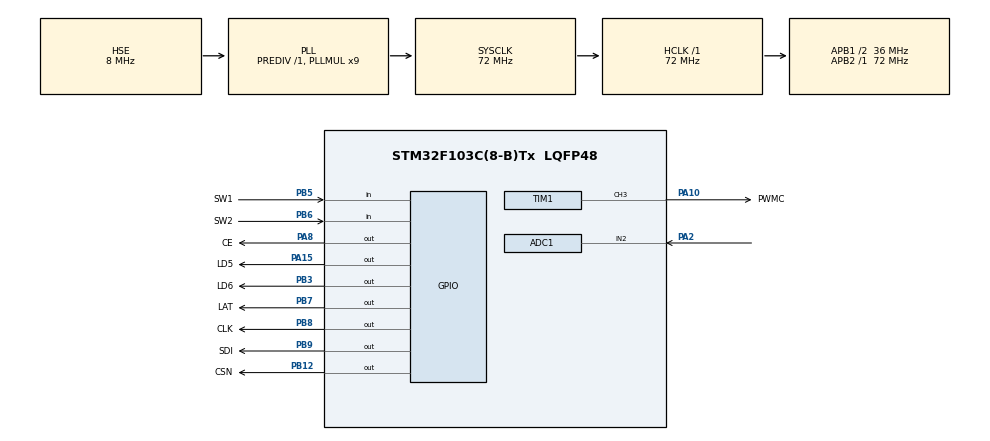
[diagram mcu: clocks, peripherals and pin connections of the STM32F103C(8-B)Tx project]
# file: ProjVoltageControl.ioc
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ADC1.Channel-0\#ChannelRegularConversion=ADC_CHANNEL_2
ADC1.ContinuousConvMode=ENABLE
ADC1.NbrOfConversionFlag=1
ADC1.Rank-0\#ChannelRegularConversion=1
ADC1.SamplingTime-0\#ChannelRegularConversion=ADC_SAMPLETIME_1CYCLE_5
ADC1.master=1
Mcu.Family=STM32F1
Mcu.Name=STM32F103C(8-B)Tx
Mcu.Package=LQFP48
NVIC.PriorityGroup=NVIC_PRIORITYGROUP_4
PA0-WKUP.GPIO_Label=POT3
PA0-WKUP.Signal=ADCx_IN0
PA1.GPIO_Label=POT2
PA1.Signal=ADCx_IN1
PA10.GPIO_Label=PWMC
PA10.Signal=S_TIM1_CH3
PA13.GPIO_Label=SWDIO
PA13.Mode=Serial_Wire
PA13.Signal=SYS_JTMS-SWDIO
PA14.GPIO_Label=SWCLK
PA14.Mode=Serial_Wire
PA14.Signal=SYS_JTCK-SWCLK
PA15.GPIO_Label=LD5
PA15.GPIO_ModeDefaultOutputPP=GPIO_MODE_OUTPUT_PP
PA15.GPIO_PuPd=GPIO_NOPULL
PA15.GPIO_Speed=GPIO_SPEED_FREQ_HIGH
PA15.PinState=GPIO_PIN_RESET
PA15.Signal=GPIO_Output
PA2.Signal=ADCx_IN2
PA5.GPIO_Label=POT1
PA5.Signal=ADCx_IN5
PA6.GPIO_Label=Temp
PA6.Signal=ADCx_IN6
PA7.GPIO_Label=PWMG
PA7.Signal=S_TIM3_CH2
PA8.GPIO_Label=CE
PA8.GPIO_Speed=GPIO_SPEED_FREQ_HIGH
PA8.Signal=GPIO_Output
PA9.GPIO_Label=PWMS
PA9.Signal=S_TIM1_CH2
PB0.GPIO_Label=PWMB
PB0.Signal=S_TIM3_CH3
PB1.GPIO_Label=PWMR
PB1.Signal=S_TIM3_CH4
PB12.GPIO_Label=CSN
PB12.GPIO_Speed=GPIO_SPEED_FREQ_HIGH
PB12.Signal=GPIO_Output
PB13.GPIO_Label=SCK
PB13.Signal=SPI2_SCK
PB14.GPIO_Label=MISO
PB14.Signal=SPI2_MISO
PB15.GPIO_Label=MOSI
PB15.Signal=SPI2_MOSI
PB3.GPIO_Label=LD6
PB3.GPIO_ModeDefaultOutputPP=GPIO_MODE_OUTPUT_PP
PB3.GPIO_PuPd=GPIO_NOPULL
PB3.GPIO_Speed=GPIO_SPEED_FREQ_HIGH
PB3.PinState=GPIO_PIN_RESET
PB3.Signal=GPIO_Output
PB5.GPIO_Label=SW1
PB5.GPIO_Mode=GPIO_MODE_INPUT
PB5.GPIO_PuPd=GPIO_NOPULL
PB5.Signal=GPIO_Input
PB6.GPIO_Label=SW2
PB6.GPIO_Mode=GPIO_MODE_INPUT
PB6.GPIO_PuPd=GPIO_NOPULL
PB6.Signal=GPIO_Input
PB7.GPIO_Label=LAT
PB7.GPIO_ModeDefaultOutputPP=GPIO_MODE_OUTPUT_OD
PB7.GPIO_Speed=GPIO_SPEED_FREQ_HIGH
PB7.PinState=GPIO_PIN_RESET
PB7.Signal=GPIO_Output
PB8.GPIO_Label=CLK
PB8.GPIO_ModeDefaultOutputPP=GPIO_MODE_OUTPUT_OD
PB8.GPIO_Speed=GPIO_SPEED_FREQ_HIGH
PB8.PinState=GPIO_PIN_RESET
PB8.Signal=GPIO_Output
PB9.GPIO_Label=SDI
PB9.GPIO_ModeDefaultOutputPP=GPIO_MODE_OUTPUT_OD
PB9.GPIO_Speed=GPIO_SPEED_FREQ_HIGH
PB9.PinState=GPIO_PIN_RESET
PB9.Signal=GPIO_Output
PD0-OSC_IN.GPIO_Label=OSC_IN
PD0-OSC_IN.Mode=HSE-External-Oscillator
PD0-OSC_IN.Signal=RCC_OSC_IN
PD1-OSC_OUT.GPIO_Label=OSC_OUT
PD1-OSC_OUT.Mode=HSE-External-Oscillator
PD1-OSC_OUT.Signal=RCC_OSC_OUT
ProjectManager.HeapSize=0x200
ProjectManager.StackSize=0x400
ProjectManager.TargetToolchain=MDK-ARM V5.27
RCC.ADCPresc=RCC_ADCPCLK2_DIV6
RCC.AHBFreq_Value=72000000
RCC.APB1CLKDivider=RCC_HCLK_DIV2
RCC.APB1Freq_Value=36000000
RCC.APB1TimFreq_Value=72000000
RCC.APB2Freq_Value=72000000
RCC.APB2TimFreq_Value=72000000
RCC.HCLKFreq_Value=72000000
RCC.PLLMUL=RCC_PLL_MUL9
RCC.PLLSourceVirtual=RCC_PLLSOURCE_HSE
RCC.SYSCLKFreq_VALUE=72000000
RCC.SYSCLKSource=RCC_SYSCLKSOURCE_PLLCLK
RCC.USBFreq_Value=72000000
SH.ADCx_IN0.0=ADC1_IN0
SH.ADCx_IN1.0=ADC1_IN1
SH.ADCx_IN2.0=ADC1_IN2,IN2
SH.ADCx_IN5.0=ADC1_IN5
SH.ADCx_IN6.0=ADC1_IN6
SH.S_TIM1_CH2.0=TIM1_CH2
SH.S_TIM1_CH3.0=TIM1_CH3,PWM Generation3 CH3
SH.S_TIM3_CH2.0=TIM3_CH2
SH.S_TIM3_CH3.0=TIM3_CH3
SH.S_TIM3_CH4.0=TIM3_CH4
TIM1.Channel-PWM\ Generation3\ CH3=TIM_CHANNEL_3
TIM1.Period=400
VP_TIM1_VS_ClockSourceINT.Mode=Internal
board=custom

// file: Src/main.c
/* USER CODE BEGIN Header */
/**
  ******************************************************************************
  * @file           : main.c
  * @brief          : Main program body
  ******************************************************************************
  * @attention
  *
  * <h2><center>&copy; Copyright (c) 2020 STMicroelectronics.
  * All rights reserved.</center></h2>
  *
  * This software component is licensed by ST under BSD 3-Clause license,
  * the "License"; You may not use this file except in compliance with the
  * License. You may obtain a copy of the License at:
  *                        opensource.org/licenses/BSD-3-Clause
  *
  ******************************************************************************
  */
/* USER CODE END Header */

#include "main.h"
#include "adc.h"
#include "tim.h"
#include "gpio.h"

void SystemClock_Config(void);

/* USER CODE BEGIN 0 */
float raw = 0, filtered = 0;
float sample_time = 0.001 /* s */, frequency = 10 /* rad/s */;
float reference = 20, Kp = 1000, Ki = 10000, sum = 0;

void HAL_SYSTICK_Callback(void)
{
  raw = 100.0f * (float)HAL_ADC_GetValue(&hadc1) / 4096.0f; // Normalize
  filtered += (raw - filtered) * frequency * sample_time;
  float error = reference - filtered;
  sum += Ki * error * sample_time;
  float u = Kp * error + sum;
  u = (u < 0 || 40000 < u) ? (u < 0 ? 0 : 40000) : u; // Saturation with TIM1->ARR * 100
  TIM1->CCR3 = u / 100.0f; // Denormalize
}
/* USER CODE END 0 */

int main(void)
{

  /* MCU Configuration--------------------------------------------------------*/

  /* Reset of all peripherals, Initializes the Flash interface and the Systick. */
  HAL_Init();

  /* Configure the system clock */
  SystemClock_Config();

  /* Initialize all configured peripherals */
  MX_GPIO_Init();
  MX_ADC1_Init();
  MX_TIM1_Init();
  /* USER CODE BEGIN 2 */
  HAL_ADCEx_Calibration_Start(&hadc1);
  HAL_ADC_Start(&hadc1);
  HAL_TIM_PWM_Start(&htim1, TIM_CHANNEL_3);
  TIM1->CCR3 = 200;
  /* USER CODE END 2 */

  /* Infinite loop */
  while (1)
  {

  }
}

void SystemClock_Config(void)
{
  RCC_OscInitTypeDef RCC_OscInitStruct = {0};
  RCC_ClkInitTypeDef RCC_ClkInitStruct = {0};
  RCC_PeriphCLKInitTypeDef PeriphClkInit = {0};

  /** Initializes the CPU, AHB and APB busses clocks
  */
  RCC_OscInitStruct.OscillatorType = RCC_OSCILLATORTYPE_HSE;
  RCC_OscInitStruct.HSEState = RCC_HSE_ON;
  RCC_OscInitStruct.HSEPredivValue = RCC_HSE_PREDIV_DIV1;
  RCC_OscInitStruct.HSIState = RCC_HSI_ON;
  RCC_OscInitStruct.PLL.PLLState = RCC_PLL_ON;
  RCC_OscInitStruct.PLL.PLLSource = RCC_PLLSOURCE_HSE;
  RCC_OscInitStruct.PLL.PLLMUL = RCC_PLL_MUL9;
  if (HAL_RCC_OscConfig(&RCC_OscInitStruct) != HAL_OK)
  {
    Error_Handler();
  }
  /** Initializes the CPU, AHB and APB busses clocks
  */
  RCC_ClkInitStruct.ClockType = RCC_CLOCKTYPE_HCLK|RCC_CLOCKTYPE_SYSCLK
                              |RCC_CLOCKTYPE_PCLK1|RCC_CLOCKTYPE_PCLK2;
  RCC_ClkInitStruct.SYSCLKSource = RCC_SYSCLKSOURCE_PLLCLK;
  RCC_ClkInitStruct.AHBCLKDivider = RCC_SYSCLK_DIV1;
  RCC_ClkInitStruct.APB1CLKDivider = RCC_HCLK_DIV2;
  RCC_ClkInitStruct.APB2CLKDivider = RCC_HCLK_DIV1;

  if (HAL_RCC_ClockConfig(&RCC_ClkInitStruct, FLASH_LATENCY_2) != HAL_OK)
  {
    Error_Handler();
  }
  PeriphClkInit.PeriphClockSelection = RCC_PERIPHCLK_ADC;
  PeriphClkInit.AdcClockSelection = RCC_ADCPCLK2_DIV6;
  if (HAL_RCCEx_PeriphCLKConfig(&PeriphClkInit) != HAL_OK)
  {
    Error_Handler();
  }
}

void Error_Handler(void)
{
}

/************************ (C) COPYRIGHT STMicroelectronics *****END OF FILE****/
